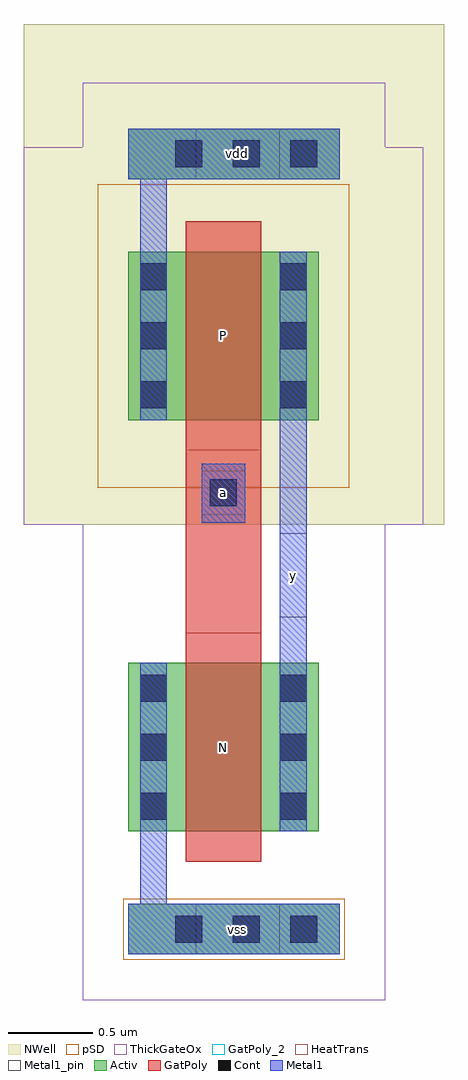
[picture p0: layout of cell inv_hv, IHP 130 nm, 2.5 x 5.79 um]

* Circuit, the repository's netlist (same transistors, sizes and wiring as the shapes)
* SPDX-FileCopyrightText: 2026 Christoph Maier
* SPDX-License-Identifier: Apache-2.0
* inv_hv (Claude, agent D, C4 2026-11-07). hv devices 1u/0.45u; every device as drawn.

.SUBCKT inv_hv a vdd vss y
MP y a vdd vdd sg13_hv_pmos w=1u l=0.45u ng=1 m=1
MN y a vss vss sg13_hv_nmos w=1u l=0.45u ng=1 m=1
.ENDS inv_hv

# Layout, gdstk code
import gdstk
lib = gdstk.Library(unit=1e-6, precision=1e-09)
def R(c, l, rs):  # rectangles x0, y0, x1, y1
    for r in rs: c.add(gdstk.rectangle(r[:2], r[2:], *l))
def A(c, l, x, y, w, h, nx, ny, dx, dy):  # array of equal rectangles
    R(c, l, [(x+i*dx, y+j*dy, x+i*dx+w, y+j*dy+h) for i in range(nx) for j in range(ny)])
Activ = (1, 0)
GatPoly = (5, 0)
GatPoly_2 = (5, 2)
Cont = (6, 0)
Metal1 = (8, 0)
Metal1_pin = (8, 2)
pSD = (14, 0)
NWell = (31, 0)
ThickGateOx = (44, 0)
HeatTrans = (51, 0)

pmoshv_w1_l0p45 = lib.new_cell('pmosHV_w1_l0p45')
R(pmoshv_w1_l0p45, Activ, [(0,0,0.3,0.3), (0,0,1.13,1), (0.83,0,1.13,0.3)])
R(pmoshv_w1_l0p45, GatPoly, [(0.34,-0.18,0.79,1.18)])
R(pmoshv_w1_l0p45, GatPoly_2, [(0.34,-0.18,0.79,1.18)])
A(pmoshv_w1_l0p45, Cont, 0.07, 0.07, 0.16, 0.16, 1, 3, 0, 0.35)
A(pmoshv_w1_l0p45, Cont, 0.9, 0.07, 0.16, 0.16, 1, 3, 0, 0.35)
R(pmoshv_w1_l0p45, Metal1, [(0.07,0,0.23,1), (0.9,0,1.06,1)])
R(pmoshv_w1_l0p45, Metal1_pin, [(0.07,0,0.23,1), (0.9,0,1.06,1)])
R(pmoshv_w1_l0p45, pSD, [(-0.18,-0.4,1.31,1.4)])
R(pmoshv_w1_l0p45, NWell, [(-0.62,-0.62,1.75,1.62)])
R(pmoshv_w1_l0p45, ThickGateOx, [(-0.62,-0.62,1.75,1.62)])
R(pmoshv_w1_l0p45, HeatTrans, [(0.34,-0.18,0.79,1.18)])
pmoshv_w1_l0p45.add(gdstk.Label('pmosHV', (0.565,0.5), layer=63, texttype=0))
pmoshv_w1_l0p45.add(gdstk.Label('pmos', (0.565,0.5), layer=51, texttype=0))

nmoshv_w1_l0p45 = lib.new_cell('nmosHV_w1_l0p45')
R(nmoshv_w1_l0p45, Activ, [(0,0,0.3,0.3), (0,0,1.13,1), (0.83,0,1.13,0.3)])
R(nmoshv_w1_l0p45, GatPoly, [(0.34,-0.18,0.79,1.18)])
R(nmoshv_w1_l0p45, GatPoly_2, [(0.34,-0.18,0.79,1.18)])
A(nmoshv_w1_l0p45, Cont, 0.07, 0.07, 0.16, 0.16, 1, 3, 0, 0.35)
A(nmoshv_w1_l0p45, Cont, 0.9, 0.07, 0.16, 0.16, 1, 3, 0, 0.35)
R(nmoshv_w1_l0p45, Metal1, [(0.07,0,0.23,1), (0.9,0,1.06,1)])
R(nmoshv_w1_l0p45, Metal1_pin, [(0.07,0,0.23,1), (0.9,0,1.06,1)])
R(nmoshv_w1_l0p45, ThickGateOx, [(-0.27,-0.52,1.4,1.52)])
R(nmoshv_w1_l0p45, HeatTrans, [(0.34,-0.18,0.79,1.18)])
nmoshv_w1_l0p45.add(gdstk.Label('nmosHV', (0.565,0.5), layer=63, texttype=0))
nmoshv_w1_l0p45.add(gdstk.Label('nmosHV', (0.565,0.5), layer=51, texttype=0))

inv_hv = lib.new_cell('inv_hv')
R(inv_hv, Activ, [(0,0,1.255,0.3), (0,4.6,1.255,4.9)])
R(inv_hv, GatPoly, [(0.34,1.91,0.79,2.99)])
A(inv_hv, Cont, 0.28, 0.07, 0.16, 0.16, 3, 2, 0.34, 4.6)
R(inv_hv, Cont, [(0.485,2.66,0.645,2.82)])
R(inv_hv, Metal1, [(0,0,1.255,0.3), (0.07,0.3,0.23,0.73), (0.9,1.73,1.06,3.17), (0.435,2.56,0.695,2.91), (0.07,4.17,0.23,4.6), (0,4.6,1.255,4.9)])
R(inv_hv, Metal1_pin, [(0.4,0,0.9,0.3), (0.9,2,1.06,2.5), (0.435,2.61,0.695,2.87), (0.4,4.6,0.9,4.9)])
R(inv_hv, pSD, [(-0.03,-0.03,1.285,0.33)])
R(inv_hv, NWell, [(-0.62,2.55,1.875,5.52)])
R(inv_hv, ThickGateOx, [(-0.27,-0.27,1.525,5.17)])
inv_hv.add(gdstk.Reference(pmoshv_w1_l0p45, (0,3.17)))
inv_hv.add(gdstk.Reference(nmoshv_w1_l0p45, (0,0.73)))
inv_hv.add(gdstk.Label('a', (0.565,2.74), layer=8, texttype=25))
inv_hv.add(gdstk.Label('y', (0.98,2.25), layer=8, texttype=25))
inv_hv.add(gdstk.Label('vdd', (0.65,4.75), layer=8, texttype=25))
inv_hv.add(gdstk.Label('vss', (0.65,0.15), layer=8, texttype=25))
inv_hv.add(gdstk.Label('P', (0.565,3.67), layer=63, texttype=0))
inv_hv.add(gdstk.Label('N', (0.565,1.23), layer=63, texttype=0))

lib.write_gds('inv_hv.gds')
